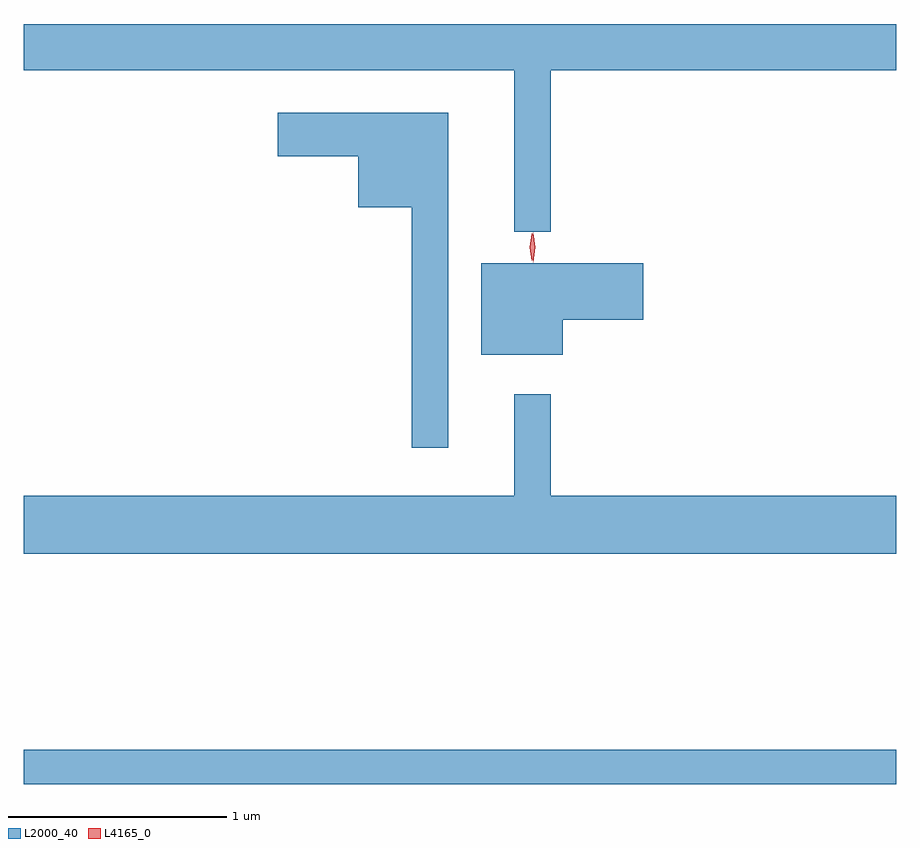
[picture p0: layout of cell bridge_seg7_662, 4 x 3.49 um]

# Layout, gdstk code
import gdstk
lib = gdstk.Library(unit=1e-6, precision=1e-09)
def R(c, l, rs):  # rectangles x0, y0, x1, y1
    for r in rs: c.add(gdstk.rectangle(r[:2], r[2:], *l))
def P(c, l, *ps):  # polygons
    for p in ps: c.add(gdstk.Polygon(p, *l))
L2000_40 = (2000, 40)
L4165_0 = (4165, 0)

bridge_seg7_662 = lib.new_cell('bridge_seg7_662')
R(bridge_seg7_662, L2000_40, [(994.833,1702.161,998.833,1702.319)])
P(bridge_seg7_662, L2000_40, [(997.249,1705.436),(998.833,1705.436),(998.833,1705.647),(994.833,1705.647),(994.833,1705.436),(997.081,1705.436),(997.081,1704.693),(997.249,1704.693)],
  [(996.779,1705.239),(995.996,1705.239),(995.996,1705.041),(996.366,1705.041),(996.366,1704.806),(996.611,1704.806),(996.611,1703.703),(996.779,1703.703)],
  [(997.304,1704.291),(997.674,1704.291),(997.674,1704.549),(996.931,1704.549),(996.931,1704.131),(997.304,1704.131)],
  [(998.833,1703.484),(997.249,1703.484),(997.249,1703.948),(997.081,1703.948),(997.081,1703.484),(994.833,1703.484),(994.833,1703.216),(998.833,1703.216)])
P(bridge_seg7_662, L4165_0, [(997.169,1704.554),(997.159,1704.622),(997.168,1704.69),(997.169,1704.69),(997.169,1704.69),(997.179,1704.622),(997.17,1704.554),(997.17,1704.554)],
  [(997.162,1704.56),(997.161,1704.561),(997.153,1704.624),(997.163,1704.686),(997.164,1704.687),(997.164,1704.686),(997.173,1704.624),(997.162,1704.561)])

lib.write_gds('bridge_seg7_662.gds')
